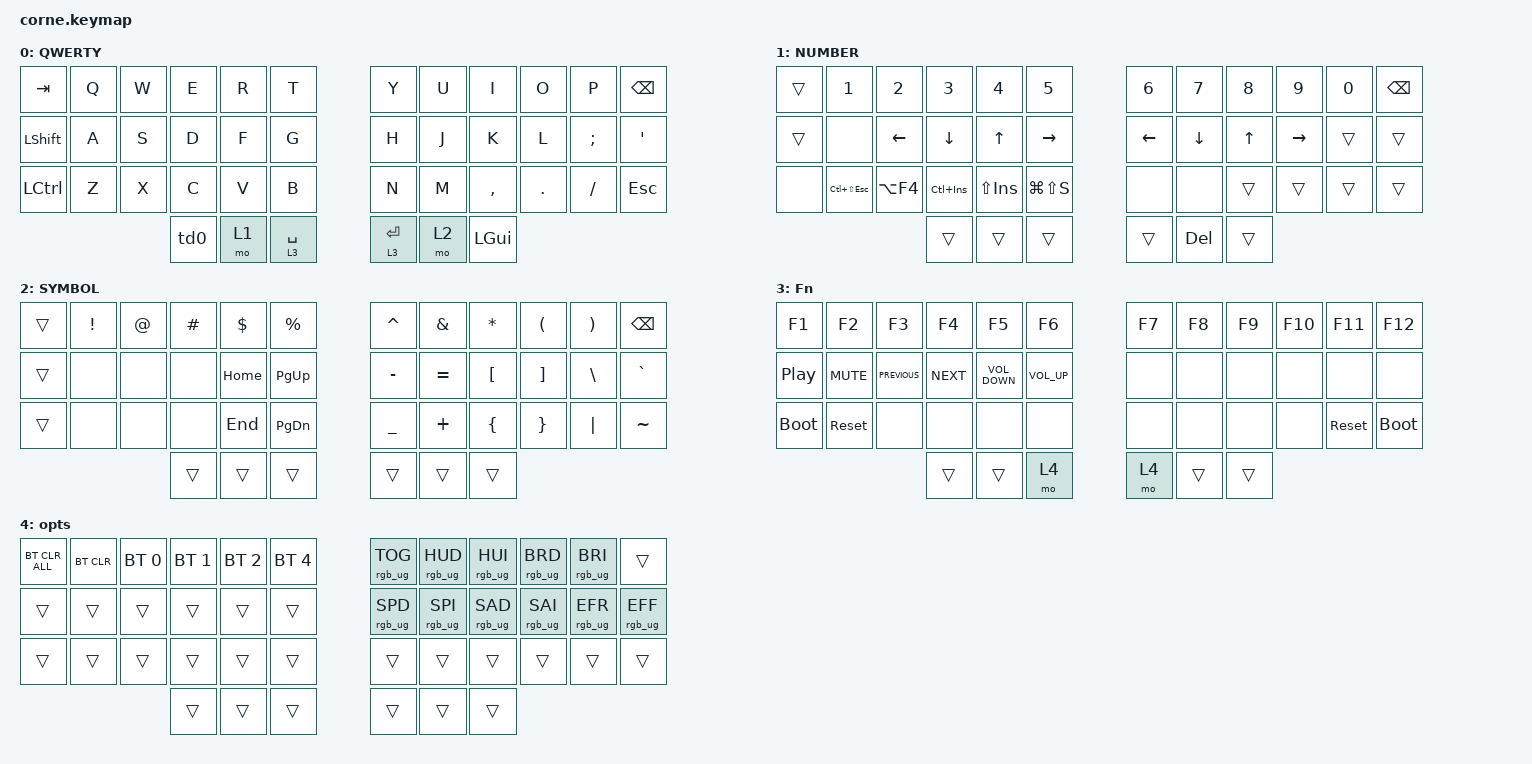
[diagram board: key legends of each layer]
/*
 * Copyright (c) 2020 The ZMK Contributors
 *
 * SPDX-License-Identifier: MIT
 */

#include <behaviors.dtsi>
#include <dt-bindings/zmk/bt.h>
#include <dt-bindings/zmk/keys.h>
#include <dt-bindings/zmk/rgb.h>

/ {
    chosen {
        zmk,matrix_transform = &default_transform;

        // zmk,matrix_transform = &five_column_transform;
    };
};

/ {
    behaviors {
        td0: td0 {
            compatible = "zmk,behavior-tap-dance";
            label = "TD0";
            #binding-cells = <0>;
            bindings = <&kp LEFT_ALT>, <&kp CAPS>;
        };
    };

    keymap {
        compatible = "zmk,keymap";

        default_layer {
            display-name = "QWERTY";

            // --------------------------------------------------------------------------------
            // |  TAB |  Q  |  W  |  E  |  R  |  T  |   |  Y  |  U   |  I  |  O  |  P  | BKSP |
            // | CTRL |  A  |  S  |  D  |  F  |  G  |   |  H  |  J   |  K  |  L  |  ;  |  '   | 
            // | SHFT |  Z  |  X  |  C  |  V  |  B  |   |  N  |  M   |  ,  |  .  |  /  | ESC  |
            //                    | GUI | LWR | SPC |   | ENT | RSE  | ALT |

            bindings = <
&kp TAB         &kp Q  &kp W  &kp E  &kp R  &kp T          &kp Y        &kp U  &kp I         &kp O    &kp P     &kp BSPC
&kp LEFT_SHIFT  &kp A  &kp S  &kp D  &kp F  &kp G          &kp H        &kp J  &kp K         &kp L    &kp SEMI  &kp SQT
&kp LCTRL       &kp Z  &kp X  &kp C  &kp V  &kp B          &kp N        &kp M  &kp COMMA     &kp DOT  &kp FSLH  &kp ESC
                              &td0   &mo 1  &lt 3 SPACE    &lt 3 ENTER  &mo 2  &kp LEFT_GUI
            >;
        };

        lower_layer {
            display-name = "NUMBER";

            // -----------------------------------------------------------------------------------------
            // |  TAB |  1  |  2  |  3  |  4  |  5  |   |  6  |  7  |  8  |  9  |  0  | BKSP |
            // | BTCLR| BT1 | BT2 | BT3 | BT4 | BT5 |   | LFT | DWN |  UP | RGT |     |      |
            // | SHFT |     |     |     |     |     |   |     |     |     |     |     |      |
            //                    | GUI |     | SPC |   | ENT |     | ALT |

            bindings = <
&trans  &kp N1              &kp N2          &kp N3          &kp N4          &kp N5             &kp N6    &kp N7    &kp N8  &kp N9     &kp N0  &kp BSPC
&trans  &none               &kp LEFT_ARROW  &kp DOWN_ARROW  &kp UP_ARROW    &kp RIGHT_ARROW    &kp LEFT  &kp DOWN  &kp UP  &kp RIGHT  &trans  &trans
&none   &kp LC(LS(ESCAPE))  &kp LA(F4)      &kp LC(INSERT)  &kp LS(INSERT)  &kp LG(LS(S))      &none     &none     &trans  &trans     &trans  &trans
                                            &trans          &trans          &trans             &trans    &kp DEL   &trans
            >;
        };

        raise_layer {
            display-name = "SYMBOL";

            // -----------------------------------------------------------------------------------------
            // |  TAB |  !  |  @  |  #  |  $  |  %  |   |  ^  |  &  |  *  |  (  |  )  | BKSP |
            // | CTRL |     |     |     |     |     |   |  -  |  =  |  [  |  ]  |  \  |  `   |
            // | SHFT |     |     |     |     |     |   |  _  |  +  |  {  |  }  | "|" |  ~   |
            //                    | GUI |     | SPC |   | ENT |     | ALT |

            bindings = <
&trans  &kp EXCL  &kp AT  &kp HASH  &kp DLLR  &kp PRCNT        &kp CARET  &kp AMPS   &kp ASTRK  &kp LPAR  &kp RPAR  &kp BSPC
&trans  &none     &none   &none     &kp HOME  &kp PAGE_UP      &kp MINUS  &kp EQUAL  &kp LBKT   &kp RBKT  &kp BSLH  &kp GRAVE
&trans  &none     &none   &none     &kp END   &kp PAGE_DOWN    &kp UNDER  &kp PLUS   &kp LBRC   &kp RBRC  &kp PIPE  &kp TILDE
                          &trans    &trans    &trans           &trans     &trans     &trans
            >;
        };

        layer_3 {
            display-name = "Fn";
            bindings = <
&kp F1       &kp F2      &kp F3          &kp F4      &kp F5             &kp F6             &kp F7  &kp F8  &kp F9  &kp F10  &kp F11     &kp F12
&kp C_PP     &kp C_MUTE  &kp C_PREVIOUS  &kp C_NEXT  &kp C_VOLUME_DOWN  &kp C_VOLUME_UP    &none   &none   &none   &none    &none       &none
&bootloader  &sys_reset  &none           &none       &none              &none              &none   &none   &none   &none    &sys_reset  &bootloader
                                         &trans      &trans             &mo 4              &mo 4   &trans  &trans
            >;
        };

        opts {
            bindings = <
&bt BT_CLR_ALL  &bt BT_CLR  &bt BT_SEL 0  &bt BT_SEL 1  &bt BT_SEL 2  &bt BT_SEL 4    &rgb_ug RGB_TOG  &rgb_ug RGB_HUD  &rgb_ug RGB_HUI  &rgb_ug RGB_BRD  &rgb_ug RGB_BRI  &trans
&trans          &trans      &trans        &trans        &trans        &trans          &rgb_ug RGB_SPD  &rgb_ug RGB_SPI  &rgb_ug RGB_SAD  &rgb_ug RGB_SAI  &rgb_ug RGB_EFR  &rgb_ug RGB_EFF
&trans          &trans      &trans        &trans        &trans        &trans          &trans           &trans           &trans           &trans           &trans           &trans
                                          &trans        &trans        &trans          &trans           &trans           &trans
            >;
        };
    };
};
